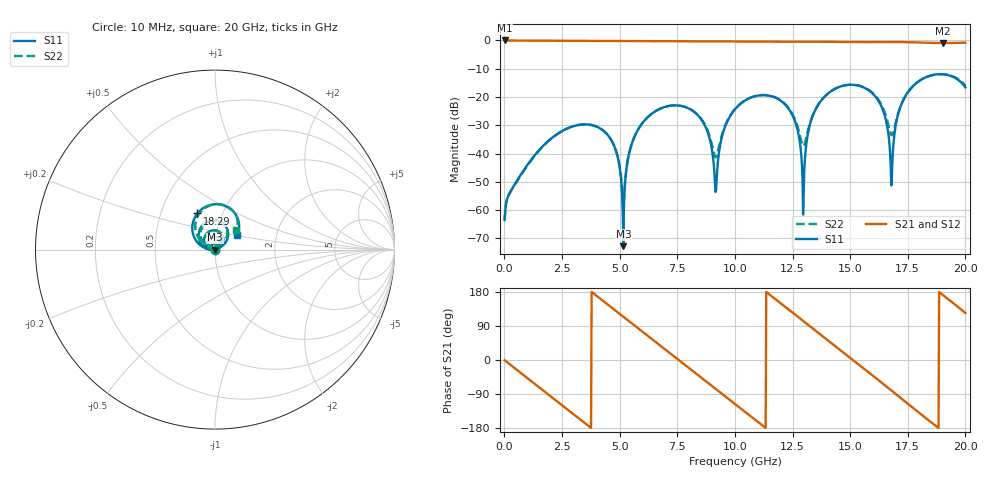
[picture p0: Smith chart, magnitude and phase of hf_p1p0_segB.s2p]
! Stitch-density study - 40 x 12 mm symmetric stripline, cut at x=20 mm
! Case: hf_p1p0_segB
! Sweep: 10 MHz - 20 GHz, 25 MHz step, 4 cores
# GHz S MA R 50.000000
! Terminal data exported
! Port[1] = U1.PAD1.SIG
! Port[2] = U2.PAD1.SIG
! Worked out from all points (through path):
!   801 points, 10 MHz to 20 GHz, reference 50 ohm
!   highest |S21| = -0.01 dB at 10 MHz (marker M1); lowest = -0.9 dB at 19.04 GHz (marker M2)
!   group delay of S21, straight-line fit = 133 ps
!   lowest |S11| = -72.7 dB at 5.16 GHz (marker M3), VSWR 1.00, Z = 50 + j0.0165 ohm
!   |S11| at or under -10 dB: start of sweep to end of sweep
!   |S22| runs from -63.5 to -11.9 dB; largest |S21 - S12| = 3.2e-14
!   S11 on the Smith chart (normalised r, x): 10 MHz: 1.00, +0.00; 18.29 GHz: 0.76, +0.32; 20 GHz: 1.26, +0.21
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0.01  0.0006716 11.3  0.9993 -0.5  0.9993 -0.5  0.0006716 11.3
1.735  0.01443 -162.0  0.9892 -82.9  0.9892 -82.9  0.01429 -165.0
3.36  0.0327 111.2  0.9825 -160.2  0.9825 -160.2  0.03268 110.1
4.635  0.0174 49.4  0.9786 139.2  0.9786 139.2  0.01742 51.6
5.16  0.0002314 134.3  0.977 114.2  0.977 114.2  0.001161 117.8
5.61  0.01847 -178.6  0.9754 92.8  0.9754 92.8  0.0185 178.8
6.685  0.0602 130.4  0.9705 41.7  0.9705 41.7  0.06021 131.7
8.435  0.0456 45.8  0.966 -41.3  0.966 -41.3  0.04624 56.8
9.16  0.002096 -58.2  0.9649 -75.9  0.9649 -75.9  0.008612 98.2
10.01  0.06117 154.9  0.9606 -116.4  0.9606 -116.4  0.06158 146.1
12.11  0.07846 53.9  0.9535 143.9  0.9535 143.9  0.07979 59.2
12.66  0.03221 27.0  0.9543 117.6  0.9543 117.6  0.03544 47.0
12.96  0.0008379 -22.0  0.9539 103.1  0.9539 103.1  0.01367 94.9
13.36  0.04443 174.8  0.9517 83.9  0.9517 83.9  0.04562 155.0
15.485  0.1535 73.5  0.935 -17.3  0.935 -17.3  0.1548 73.7
16.335  0.07117 33.8  0.9409 -58.2  0.9409 -58.2  0.07567 43.6
16.685  0.018 22.5  0.9417 -75.3  0.9417 -75.3  0.02908 57.5
16.835  0.007578 168.7  0.9412 -82.7  0.9412 -82.7  0.02152 106.7
17.36  0.09784 160.1  0.9345 -108.6  0.9345 -108.6  0.09696 147.1
18.285  0.2242 116.0  0.9109 -153.4  0.9109 -153.4  0.2227 111.8
19.035  0.252 80.4  0.9008 171.0  0.9008 171.0  0.2533 80.0
20  0.1482 33.2  0.9138 124.0  0.9138 124.0  0.1586 42.5
